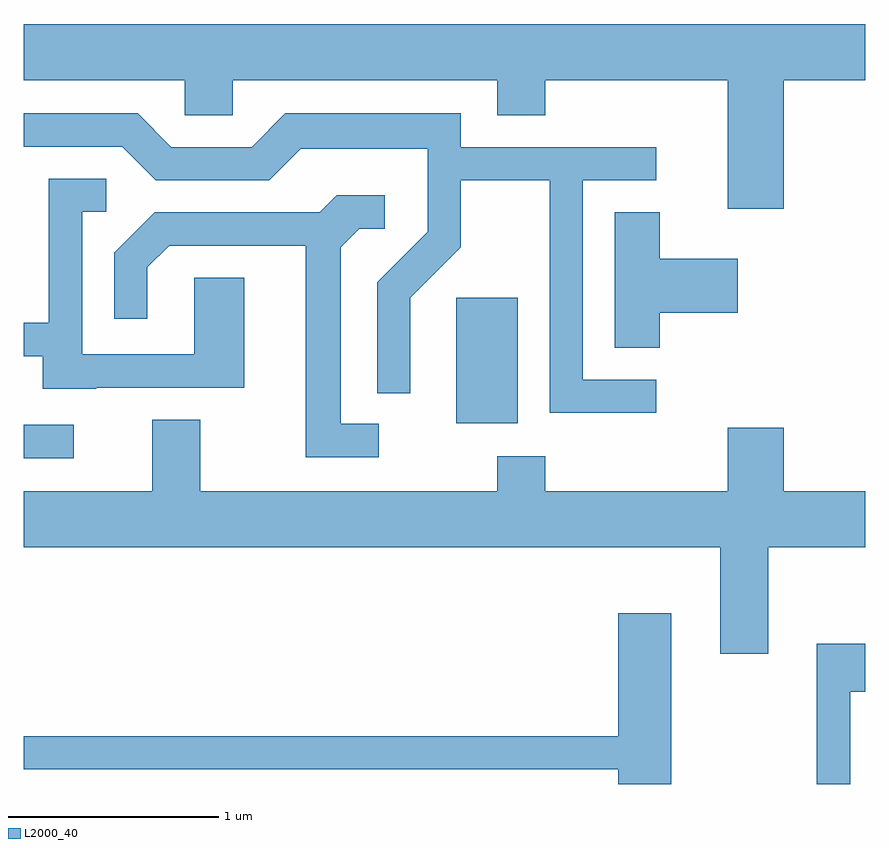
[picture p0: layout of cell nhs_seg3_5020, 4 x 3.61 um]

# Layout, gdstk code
import gdstk
lib = gdstk.Library(unit=1e-6, precision=1e-09)
def R(c, l, rs):  # rectangles x0, y0, x1, y1
    for r in rs: c.add(gdstk.rectangle(r[:2], r[2:], *l))
def P(c, l, *ps):  # polygons
    for p in ps: c.add(gdstk.Polygon(p, *l))
L2000_40 = (2000, 40)

nhs_seg3_5020 = lib.new_cell('nhs_seg3_5020')
R(nhs_seg3_5020, L2000_40, [(331.611,1237.441,331.848,1237.599), (333.666,1237.606,333.959,1238.204)])
P(nhs_seg3_5020, L2000_40, [(335.224,1239.236),(335.611,1239.236),(335.611,1239.504),(331.611,1239.504),(331.611,1239.236),(332.376,1239.236),(332.376,1239.071),(332.604,1239.071),(332.604,1239.236),(333.861,1239.236),(333.861,1239.071),(334.089,1239.071),(334.089,1239.236),(334.956,1239.236),(334.956,1238.626),(335.224,1238.626)],
  [(334.618,1237.814),(334.269,1237.814),(334.269,1238.761),(334.618,1238.761),(334.618,1238.919),(333.689,1238.919),(333.689,1239.079),(332.854,1239.079),(332.694,1238.919),(332.312,1238.919),(332.152,1239.079),(331.611,1239.079),(331.611,1238.921),(332.079,1238.921),(332.239,1238.761),(332.777,1238.761),(332.927,1238.911),(333.531,1238.911),(333.531,1238.517),(333.291,1238.277),(333.291,1237.748),(333.449,1237.748),(333.449,1238.204),(333.689,1238.444),(333.689,1238.761),(334.111,1238.761),(334.111,1237.656),(334.618,1237.656)],
  [(331.955,1237.776),(332.659,1237.776),(332.659,1238.299),(332.421,1238.299),(332.421,1237.934),(331.889,1237.934),(331.889,1238.611),(332.003,1238.611),(332.003,1238.769),(331.731,1238.769),(331.731,1238.084),(331.611,1238.084),(331.611,1237.926),(331.701,1237.926),(331.701,1237.771),(331.955,1237.771)],
  [(333.298,1237.604),(333.119,1237.604),(333.119,1238.444),(333.207,1238.531),(333.328,1238.531),(333.328,1238.689),(333.099,1238.689),(333.019,1238.609),(332.234,1238.609),(332.041,1238.417),(332.041,1238.103),(332.199,1238.103),(332.199,1238.349),(332.302,1238.451),(332.951,1238.451),(332.951,1237.446),(333.298,1237.446)],
  [(334.634,1238.131),(335.004,1238.131),(335.004,1238.389),(334.634,1238.389),(334.634,1238.609),(334.421,1238.609),(334.421,1237.966),(334.634,1237.966)],
  [(335.149,1237.016),(335.611,1237.016),(335.611,1237.284),(335.224,1237.284),(335.224,1237.584),(334.956,1237.584),(334.956,1237.284),(334.089,1237.284),(334.089,1237.449),(333.861,1237.449),(333.861,1237.284),(332.449,1237.284),(332.449,1237.624),(332.221,1237.624),(332.221,1237.284),(331.611,1237.284),(331.611,1237.016),(334.921,1237.016),(334.921,1236.511),(335.149,1236.511)],
  [(334.689,1236.704),(334.436,1236.704),(334.436,1236.119),(331.611,1236.119),(331.611,1235.961),(334.436,1235.961),(334.436,1235.892),(334.689,1235.892)],
  [(335.539,1236.331),(335.611,1236.331),(335.611,1236.559),(335.381,1236.559),(335.381,1235.892),(335.539,1235.892)])

lib.write_gds('nhs_seg3_5020.gds')
